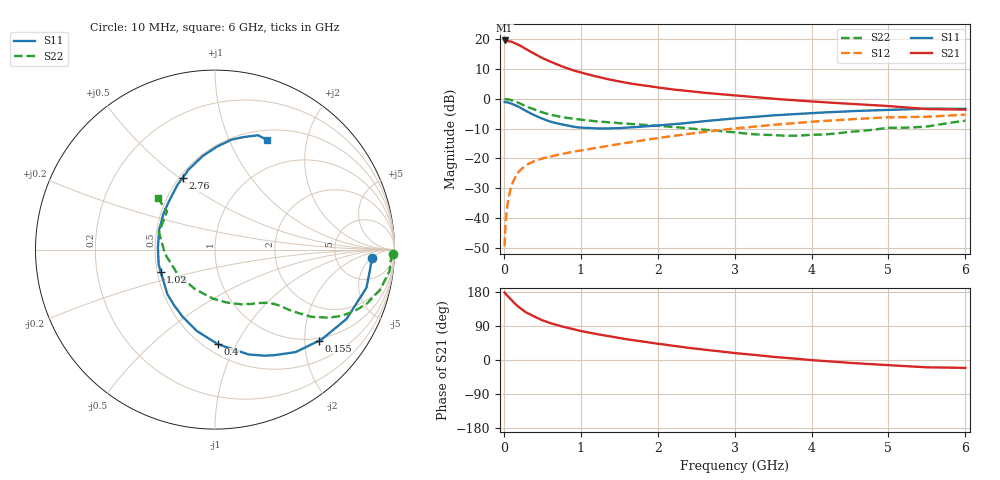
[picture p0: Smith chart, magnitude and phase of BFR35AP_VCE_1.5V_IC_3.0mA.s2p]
! Infineon Technologies  Discrete & RF Semiconductors
! BFR35AP
! VCE =  1.5 V,  IC =  3.0 mA
! Common Emitter S-Parameters:  Nov 2015
# GHz  S  MA  R  50
!  f  S11  S21  S12  S22
! GHz  MAG  ANG  MAG  ANG  MAG  ANG  MAG  ANG
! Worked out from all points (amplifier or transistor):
!   210 points, 10 MHz to 6 GHz, reference 50 ohm
!   highest |S21| = 19.5 dB at 10 MHz (marker M1)
!   |S21| within 3 dB of that: start of sweep to 296.1 MHz
!   unconditionally stable (mu >= 1): 937.7 MHz to 4.483 GHz; 4.553 GHz to 4.964 GHz; 5.008 GHz to end of sweep
!   at 185 MHz: K = 0.28, MSG = 21.4 dB, |S12| = -24.8 dB
!   at 1.52 GHz: K = 1.17, MAG = 7.9 dB, |S12| = -15.1 dB
!   at 6 GHz: K = 1.02, MAG = 0.0 dB, |S12| = -5.4 dB
!   S11 on the Smith chart (normalised r, x): 10 MHz: 13, -5; 155 MHz: 0.94, -2.34; 400 MHz: 0.58, -0.85; 1.02 GHz: 0.52, -0.14; 2.76 GHz: 0.52, +0.51; 6 GHz: 0.62, +1.40
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0.01  0.8763 -2.9  9.428 178.0  0.0034 87.7  0.9942 -1.4
0.02  0.8727 -5.8  9.347 175.3  0.0072 85.6  0.9825 -2.8
0.04  0.8688 -11.4  9.27 171.0  0.0143 82.4  0.9797 -5.7
0.1  0.8284 -27.8  9.031 158.1  0.0349 75.2  0.9461 -13.8
0.155  0.7705 -41.2  8.34 146.7  0.0502 67.4  0.8909 -20.2
0.2  0.7265 -51.8  7.865 138.8  0.0612 63.2  0.8434 -24.3
0.26  0.6536 -64.7  7.138 129.6  0.072 57.6  0.775 -28.8
0.3  0.6143 -72.1  6.627 124.3  0.0783 55.3  0.7339 -31.1
0.4  0.5284 -88.1  5.604 114.0  0.0908 50.8  0.6545 -34.9
0.5  0.4639 -102.8  4.787 104.7  0.0997 48.5  0.5896 -37.1
0.6  0.4153 -115.8  4.194 97.5  0.1073 47.2  0.5417 -38.8
0.7  0.3845 -126.5  3.705 91.4  0.1146 46.7  0.5074 -39.9
0.8  0.3636 -136.9  3.299 86.1  0.1217 46.5  0.4811 -40.8
1.02  0.3267 -157.9  2.699 75.8  0.1374 46.7  0.4429 -43.0
1.4  0.319 172.5  2.057 61.5  0.1663 47.6  0.3993 -48.1
1.62  0.3305 159.9  1.817 54.1  0.1846 47.5  0.3798 -51.7
2.02  0.3577 140.2  1.528 42.5  0.221 46.5  0.3495 -60.0
2.76  0.4377 114.4  1.208 23.8  0.2931 41.4  0.2903 -82.1
3.1  0.4781 106.2  1.104 16.5  0.3263 37.9  0.2648 -96.6
4.1  0.5825 87.3  0.882 -1.7  0.419 25.9  0.2502 -153.5
5.1  0.6545 74.2  0.736 -14.9  0.4887 12.1  0.3255 158.5
6  0.6768 64.4  0.656 -20.8  0.5397 2.0  0.4283 137.9
